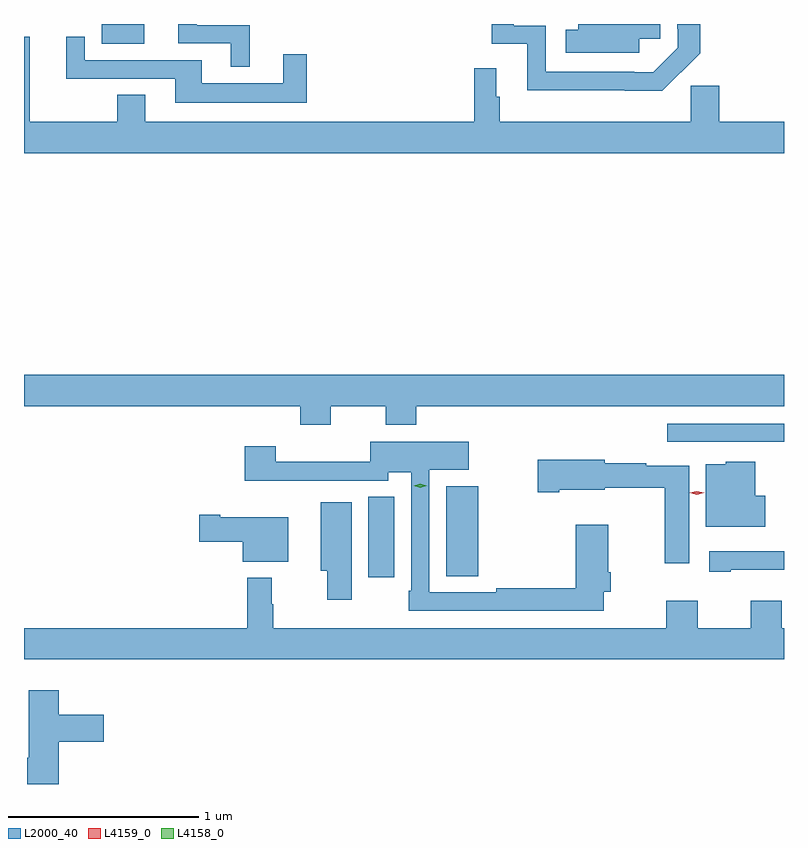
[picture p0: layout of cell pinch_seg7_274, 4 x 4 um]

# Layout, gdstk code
import gdstk
lib = gdstk.Library(unit=1e-6, precision=1e-09)
def R(c, l, rs):  # rectangles x0, y0, x1, y1
    for r in rs: c.add(gdstk.rectangle(r[:2], r[2:], *l))
def P(c, l, *ps):  # polygons
    for p in ps: c.add(gdstk.Polygon(p, *l))
L2000_40 = (2000, 40)
L4158_0 = (4158, 0)
L4159_0 = (4159, 0)

pinch_seg7_274 = lib.new_cell('pinch_seg7_274')
R(pinch_seg7_274, L2000_40, [(582.266,1042.338,582.403,1042.763), (582.677,1042.345,582.844,1042.819), (583.839,1043.052,584.454,1043.148), (580.862,1045.148,581.086,1045.251)])
P(pinch_seg7_274, L2000_40, [(581.641,1045.245),(581.364,1045.245),(581.364,1045.251),(581.267,1045.251),(581.267,1045.149),(581.543,1045.149),(581.543,1045.025),(581.641,1045.025)],
  [(584.005,1045.09),(584.012,1045.097),(584.012,1045.251),(583.893,1045.251),(583.893,1045.225),(583.896,1045.225),(583.896,1045.125),(583.767,1044.996),(583.667,1044.996),(583.667,1044.999),(583.2,1044.999),(583.2,1045.242),(583.032,1045.242),(583.032,1045.251),(582.916,1045.251),(582.916,1045.146),(583.103,1045.146),(583.103,1044.902),(583.615,1044.902),(583.615,1044.9),(583.814,1044.9)],
  [(583.693,1045.173),(583.803,1045.173),(583.803,1045.251),(583.37,1045.251),(583.37,1045.222),(583.305,1045.222),(583.305,1045.1),(583.693,1045.1)],
  [(584.454,1044.736),(584.114,1044.736),(584.114,1044.927),(583.963,1044.927),(583.963,1044.736),(582.959,1044.736),(582.959,1044.869),(582.94,1044.869),(582.94,1045.018),(582.823,1045.018),(582.823,1044.736),(581.092,1044.736),(581.092,1044.878),(580.945,1044.878),(580.945,1044.736),(580.484,1044.736),(580.484,1045.183),(580.454,1045.183),(580.454,1044.572),(584.454,1044.572)],
  [(581.941,1045.093),(581.819,1045.093),(581.819,1044.94),(581.389,1044.94),(581.389,1045.059),(580.773,1045.059),(580.773,1045.183),(580.676,1045.183),(580.676,1044.963),(581.249,1044.963),(581.249,1044.836),(581.941,1044.836)],
  [(582.069,1043.24),(582.358,1043.24),(582.358,1043.141),(582.518,1043.141),(582.518,1043.24),(584.454,1043.24),(584.454,1043.404),(580.454,1043.404),(580.454,1043.24),(581.909,1043.24),(581.909,1043.141),(582.069,1043.141)],
  [(583.506,1042.262),(583.541,1042.262),(583.541,1042.366),(583.528,1042.366),(583.528,1042.615),(583.358,1042.615),(583.358,1042.28),(582.94,1042.28),(582.94,1042.26),(582.588,1042.26),(582.588,1042.904),(582.796,1042.904),(582.796,1043.053),(582.276,1043.053),(582.276,1042.946),(581.78,1042.946),(581.78,1043.029),(581.615,1043.029),(581.615,1042.847),(581.863,1042.847),(581.863,1042.848),(582.372,1042.848),(582.372,1042.892),(582.492,1042.892),(582.492,1042.267),(582.48,1042.267),(582.48,1042.164),(583.506,1042.164)],
  [(583.954,1042.926),(583.73,1042.926),(583.73,1042.939),(583.51,1042.939),(583.51,1042.957),(583.158,1042.957),(583.158,1042.787),(583.27,1042.787),(583.27,1042.799),(583.51,1042.799),(583.51,1042.81),(583.826,1042.81),(583.826,1042.413),(583.954,1042.413)],
  [(584.356,1042.768),(584.302,1042.768),(584.302,1042.948),(584.148,1042.948),(584.148,1042.933),(584.042,1042.933),(584.042,1042.604),(584.356,1042.604)],
  [(582.178,1042.735),(582.017,1042.735),(582.017,1042.373),(582.049,1042.373),(582.049,1042.221),(582.178,1042.221)],
  [(581.845,1042.654),(581.488,1042.654),(581.488,1042.667),(581.376,1042.667),(581.376,1042.525),(581.606,1042.525),(581.606,1042.421),(581.845,1042.421)],
  [(584.173,1042.379),(584.454,1042.379),(584.454,1042.476),(584.061,1042.476),(584.061,1042.368),(584.173,1042.368)],
  [(584.454,1042.072),(584.443,1042.072),(584.443,1042.216),(584.279,1042.216),(584.279,1042.072),(583.999,1042.072),(583.999,1042.216),(583.835,1042.216),(583.835,1042.072),(581.765,1042.072),(581.765,1042.196),(581.758,1042.196),(581.758,1042.336),(581.629,1042.336),(581.629,1042.072),(580.454,1042.072),(580.454,1041.908),(584.454,1041.908)],
  [(580.637,1041.473),(580.873,1041.473),(580.873,1041.615),(580.637,1041.615),(580.637,1041.745),(580.478,1041.745),(580.478,1041.389),(580.471,1041.389),(580.471,1041.251),(580.637,1041.251)])
P(pinch_seg7_274, L4158_0, [(582.539,1042.81),(582.504,1042.82),(582.504,1042.82),(582.504,1042.82),(582.539,1042.83),(582.574,1042.82),(582.574,1042.82),(582.574,1042.82)])
P(pinch_seg7_274, L4159_0, [(583.996,1042.773),(583.957,1042.783),(583.956,1042.783),(583.957,1042.783),(583.996,1042.793),(584.035,1042.783),(584.035,1042.783),(584.035,1042.783)])

lib.write_gds('pinch_seg7_274.gds')
